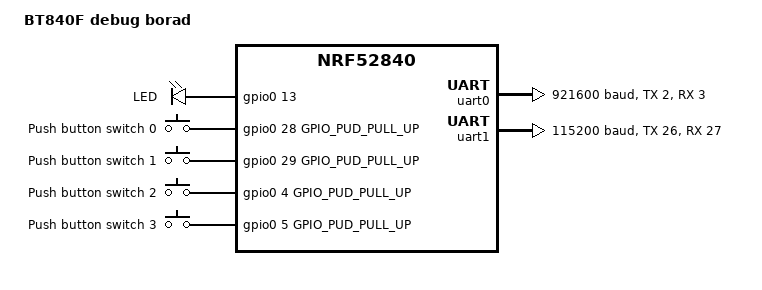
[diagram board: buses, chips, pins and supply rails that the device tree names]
/dts-v1/;
#include <nordic/nrf52840_qiaa.dtsi>

/ {
	model = "BT840F debug borad";
	compatible = "nordic,bt840f_dbg", "nordic,nrf52840-qiaa",
		     "nordic,nrf52840";

	chosen {
		zephyr,console = &uart0;
		zephyr,shell-uart = &uart0;
		zephyr,uart-mcumgr = &uart0;
		zephyr,bt-mon-uart = &uart0;
		zephyr,bt-c2h-uart = &uart0;
		zephyr,sram = &sram0;
		zephyr,flash = &flash0;
		zephyr,code-partition = &slot0_partition;
	};

	/* These aliases are provided for compatibility with samples */
	aliases {
		led0 = &led0;
	};

	leds {
		compatible = "gpio-leds";
		led0: led_0 {
			gpios = <&gpio0 13 0>;
			label = "LED";
		};
	};

	buttons {
		compatible = "gpio-keys";
		button0: button_0 {
			gpios = <&gpio0 28 GPIO_PUD_PULL_UP>;
			label = "Push button switch 0";
		};
		button1: button_1 {
			gpios = <&gpio0 29 GPIO_PUD_PULL_UP>;
			label = "Push button switch 1";
		};
		button2: button_2 {
			gpios = <&gpio0 4 GPIO_PUD_PULL_UP>;
			label = "Push button switch 2";
		};
		button3: button_3 {
			gpios = <&gpio0 5 GPIO_PUD_PULL_UP>;
			label = "Push button switch 3";
		};
	};	
};

&gpiote {
	status = "okay";
};

&gpio0 {
	status = "okay";
};


&gpio1 {
	status = "okay";
};

&uart0 {
	compatible = "nordic,nrf-uart";
	current-speed = <921600>;
	status = "okay";
	tx-pin = <2>;
	rx-pin = <3>;
};

control_serial: &uart1 {
	status = "okay";
	current-speed = <115200>;
	rx-pin = <27>;
	tx-pin = <26>;
/*	rts-pin = <30>;
	cts-pin = <31>;	*/
};


&flash0 {
	/*
	 * For more information, see:
	 * http://docs.zephyrproject.org/latest/guides/dts/index.html#flash-partitions
	 */
	partitions {
		compatible = "fixed-partitions";
		#address-cells = <1>;
		#size-cells = <1>;

		boot_partition: partition@0 {
			label = "mcuboot";
			reg = <0x000000000 0x0000C000>;
		};
		slot0_partition: partition@c000 {
			label = "image-0";
			reg = <0x0000C000 0x000067000>;
		};
		slot1_partition: partition@73000 {
			label = "image-1";
			reg = <0x00073000 0x000067000>;
		};
		scratch_partition: partition@da000 {
			label = "image-scratch";
			reg = <0x000da000 0x0001e000>;
		};

		/*
		 * The flash starting at 0x000f8000 and ending at
		 * 0x000fffff is reserved for use by the application.
		 */

		/* Storage partition will be used by FCB/NFFS/NVS if enabled. */
		storage_partition: partition@f8000 {
			label = "storage";
			reg = <0x000f8000 0x00008000>;
		};
	};
};
